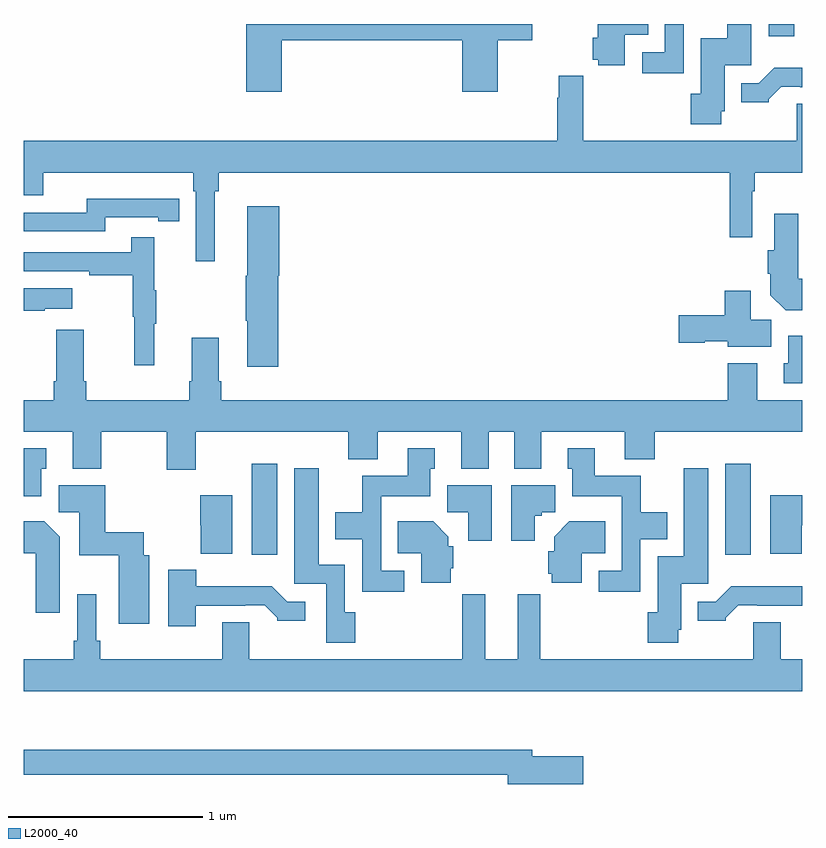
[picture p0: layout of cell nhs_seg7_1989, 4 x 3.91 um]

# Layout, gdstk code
import gdstk
lib = gdstk.Library(unit=1e-6, precision=1e-09)
def R(c, l, rs):  # rectangles x0, y0, x1, y1
    for r in rs: c.add(gdstk.rectangle(r[:2], r[2:], *l))
def P(c, l, *ps):  # polygons
    for p in ps: c.add(gdstk.Polygon(p, *l))
L2000_40 = (2000, 40)

nhs_seg7_1989 = lib.new_cell('nhs_seg7_1989')
R(nhs_seg7_1989, L2000_40, [(244.172,1045.272,244.303,1045.741), (246.605,1045.272,246.736,1045.741), (246.827,1047.936,246.958,1048)])
P(nhs_seg7_1989, L2000_40, [(244.325,1047.916),(245.252,1047.916),(245.252,1047.651),(245.435,1047.651),(245.435,1047.916),(245.613,1047.916),(245.613,1048),(244.142,1048),(244.142,1047.651),(244.325,1047.651)],
  [(246.39,1048),(246.294,1048),(246.294,1047.855),(246.177,1047.855),(246.177,1047.747),(246.39,1047.747)],
  [(246.585,1047.552),(246.601,1047.552),(246.601,1047.789),(246.739,1047.789),(246.739,1048),(246.614,1048),(246.614,1047.928),(246.479,1047.928),(246.479,1047.642),(246.428,1047.642),(246.428,1047.486),(246.585,1047.486)],
  [(246.088,1047.944),(246.209,1047.944),(246.209,1048),(245.948,1048),(245.948,1047.93),(245.923,1047.93),(245.923,1047.816),(245.952,1047.816),(245.952,1047.787),(246.088,1047.787)],
  [(246.828,1047.614),(246.892,1047.678),(246.991,1047.678),(246.991,1047.675),(247,1047.675),(247,1047.775),(246.856,1047.775),(246.777,1047.696),(246.686,1047.696),(246.686,1047.599),(246.828,1047.599)],
  [(243.982,1047.14),(244.001,1047.14),(244.001,1047.236),(246.628,1047.236),(246.628,1046.904),(246.744,1046.904),(246.744,1047.14),(246.757,1047.14),(246.757,1047.236),(247,1047.236),(247,1047.59),(246.971,1047.59),(246.971,1047.4),(245.876,1047.4),(245.876,1047.733),(245.748,1047.733),(245.748,1047.62),(245.74,1047.62),(245.74,1047.4),(243,1047.4),(243,1047.119),(243.1,1047.119),(243.1,1047.236),(243.872,1047.236),(243.872,1047.14),(243.885,1047.14),(243.885,1046.781),(243.982,1046.781)],
  [(243.42,1047.006),(243.692,1047.006),(243.692,1046.986),(243.8,1046.986),(243.8,1047.102),(243.692,1047.102),(243.692,1047.103),(243.324,1047.103),(243.324,1047.03),(243,1047.03),(243,1046.934),(243.42,1046.934)],
  [(244.307,1046.706),(244.312,1046.706),(244.312,1047.064),(244.148,1047.064),(244.148,1046.706),(244.141,1046.706),(244.141,1046.476),(244.148,1046.476),(244.148,1046.238),(244.307,1046.238)],
  [(247,1046.692),(246.979,1046.692),(246.979,1047.025),(246.857,1047.025),(246.857,1046.838),(246.824,1046.838),(246.824,1046.716),(246.836,1046.716),(246.836,1046.606),(246.914,1046.528),(247,1046.528)],
  [(243.671,1046.459),(243.682,1046.459),(243.682,1046.633),(243.671,1046.633),(243.671,1046.905),(243.553,1046.905),(243.553,1046.826),(243,1046.826),(243,1046.73),(243.337,1046.73),(243.337,1046.71),(243.561,1046.71),(243.561,1046.496),(243.568,1046.496),(243.568,1046.247),(243.671,1046.247)],
  [(243.107,1046.537),(243.25,1046.537),(243.25,1046.641),(243,1046.641),(243,1046.527),(243.107,1046.527)],
  [(246.841,1046.48),(246.736,1046.48),(246.736,1046.629),(246.602,1046.629),(246.602,1046.504),(246.366,1046.504),(246.366,1046.362),(246.498,1046.362),(246.498,1046.369),(246.618,1046.369),(246.618,1046.342),(246.841,1046.342)],
  [(244.016,1046.164),(244.003,1046.164),(244.003,1046.389),(243.863,1046.389),(243.863,1046.164),(243.851,1046.164),(243.851,1046.068),(243.32,1046.068),(243.32,1046.164),(243.307,1046.164),(243.307,1046.43),(243.167,1046.43),(243.167,1046.164),(243.155,1046.164),(243.155,1046.068),(243,1046.068),(243,1045.904),(243.251,1045.904),(243.251,1045.715),(243.399,1045.715),(243.399,1045.904),(243.736,1045.904),(243.736,1045.71),(243.883,1045.71),(243.883,1045.904),(244.667,1045.904),(244.667,1045.763),(244.819,1045.763),(244.819,1045.904),(245.249,1045.904),(245.249,1045.715),(245.389,1045.715),(245.389,1045.904),(245.519,1045.904),(245.519,1045.715),(245.659,1045.715),(245.659,1045.904),(246.089,1045.904),(246.089,1045.763),(246.242,1045.763),(246.242,1045.904),(247,1045.904),(247,1046.068),(246.769,1046.068),(246.769,1046.257),(246.617,1046.257),(246.617,1046.068),(244.016,1046.068)],
  [(247,1046.398),(246.929,1046.398),(246.929,1046.256),(246.905,1046.256),(246.905,1046.154),(247,1046.154)],
  [(244.954,1045.191),(244.836,1045.191),(244.836,1045.574),(245.089,1045.574),(245.089,1045.716),(245.113,1045.716),(245.113,1045.819),(244.973,1045.819),(244.973,1045.678),(244.738,1045.678),(244.738,1045.492),(244.601,1045.492),(244.601,1045.352),(244.74,1045.352),(244.74,1045.083),(244.954,1045.083)],
  [(246.168,1045.352),(246.307,1045.352),(246.307,1045.492),(246.171,1045.492),(246.171,1045.678),(245.935,1045.678),(245.935,1045.819),(245.795,1045.819),(245.795,1045.716),(245.819,1045.716),(245.819,1045.574),(246.072,1045.574),(246.072,1045.191),(245.955,1045.191),(245.955,1045.083),(246.168,1045.083)],
  [(243.091,1045.716),(243.115,1045.716),(243.115,1045.819),(243,1045.819),(243,1045.574),(243.091,1045.574)],
  [(246.363,1044.888),(246.379,1044.888),(246.379,1045.125),(246.517,1045.125),(246.517,1045.717),(246.392,1045.717),(246.392,1045.264),(246.257,1045.264),(246.257,1044.978),(246.206,1044.978),(246.206,1044.822),(246.363,1044.822)],
  [(244.703,1044.978),(244.65,1044.978),(244.65,1045.222),(244.516,1045.222),(244.516,1045.717),(244.391,1045.717),(244.391,1045.125),(244.554,1045.125),(244.554,1044.822),(244.703,1044.822)],
  [(245.404,1045.63),(245.177,1045.63),(245.177,1045.492),(245.285,1045.492),(245.285,1045.344),(245.404,1045.344)],
  [(243.646,1045.27),(243.616,1045.27),(243.616,1045.388),(243.419,1045.388),(243.419,1045.63),(243.179,1045.63),(243.179,1045.492),(243.284,1045.492),(243.284,1045.271),(243.488,1045.271),(243.488,1044.918),(243.646,1044.918)],
  [(245.626,1045.474),(245.661,1045.474),(245.661,1045.492),(245.731,1045.492),(245.731,1045.63),(245.504,1045.63),(245.504,1045.344),(245.626,1045.344)],
  [(244.072,1045.579),(243.908,1045.579),(243.908,1045.425),(243.91,1045.425),(243.91,1045.277),(244.072,1045.277)],
  [(246.998,1045.425),(247,1045.425),(247,1045.579),(246.836,1045.579),(246.836,1045.277),(246.998,1045.277)],
  [(243.184,1045.366),(243.106,1045.444),(243,1045.444),(243,1045.28),(243.062,1045.28),(243.062,1044.975),(243.184,1044.975)],
  [(245.866,1045.28),(245.987,1045.28),(245.987,1045.444),(245.804,1045.444),(245.726,1045.366),(245.726,1045.29),(245.696,1045.29),(245.696,1045.176),(245.714,1045.176),(245.714,1045.13),(245.866,1045.13)],
  [(245.195,1045.203),(245.208,1045.203),(245.208,1045.317),(245.182,1045.317),(245.182,1045.366),(245.104,1045.444),(244.921,1045.444),(244.921,1045.28),(245.042,1045.28),(245.042,1045.13),(245.195,1045.13)],
  [(243.883,1045.011),(244.139,1045.011),(244.139,1045.014),(244.238,1045.014),(244.302,1044.95),(244.302,1044.935),(244.447,1044.935),(244.447,1045.032),(244.353,1045.032),(244.275,1045.111),(243.886,1045.111),(243.886,1045.195),(243.743,1045.195),(243.743,1044.906),(243.883,1044.906)],
  [(246.606,1044.95),(246.67,1045.014),(246.769,1045.014),(246.769,1045.011),(247,1045.011),(247,1045.111),(246.634,1045.111),(246.555,1045.032),(246.464,1045.032),(246.464,1044.935),(246.606,1044.935)],
  [(247,1044.736),(246.889,1044.736),(246.889,1044.926),(246.749,1044.926),(246.749,1044.736),(245.654,1044.736),(245.654,1045.069),(245.537,1045.069),(245.537,1044.736),(245.371,1044.736),(245.371,1045.069),(245.254,1045.069),(245.254,1044.736),(244.159,1044.736),(244.159,1044.926),(244.019,1044.926),(244.019,1044.736),(243.392,1044.736),(243.392,1044.832),(243.372,1044.832),(243.372,1045.069),(243.276,1045.069),(243.276,1044.832),(243.256,1044.832),(243.256,1044.736),(243,1044.736),(243,1044.572),(247,1044.572)],
  [(245.875,1044.237),(245.614,1044.237),(245.614,1044.271),(243,1044.271),(243,1044.142),(245.486,1044.142),(245.486,1044.095),(245.875,1044.095)])

lib.write_gds('nhs_seg7_1989.gds')
